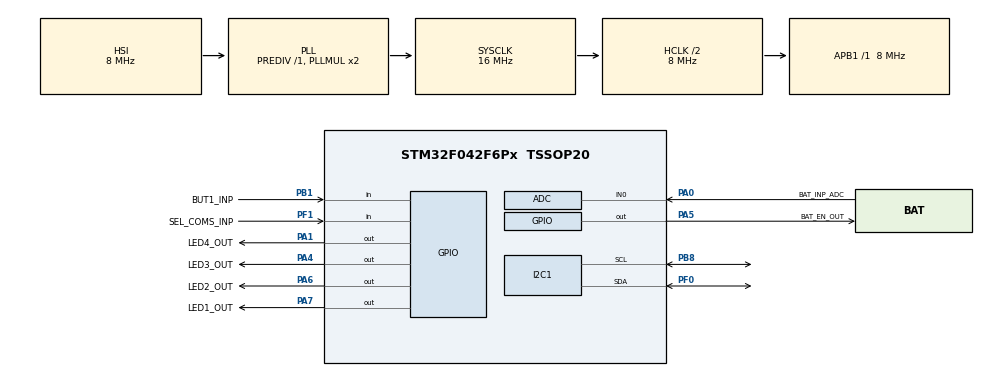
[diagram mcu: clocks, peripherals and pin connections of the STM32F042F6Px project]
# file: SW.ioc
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I2C1.Speed=20
I2C1.Timing=0x101098F3
Mcu.Family=STM32F0
Mcu.Name=STM32F042F6Px
Mcu.Package=TSSOP20
PA0.GPIO_Label=BAT_INP_ADC
PA0.Mode=IN0
PA0.Signal=ADC_IN0
PA1.GPIO_Label=LED4_OUT
PA1.Signal=GPIO_Output
PA13.Mode=Serial_Wire
PA13.Signal=SYS_SWDIO
PA14.Mode=Serial_Wire
PA14.Signal=SYS_SWCLK
PA4.GPIO_Label=LED3_OUT
PA4.Signal=GPIO_Output
PA5.GPIO_Label=BAT_EN_OUT
PA5.Signal=GPIO_Output
PA6.GPIO_Label=LED2_OUT
PA6.Signal=GPIO_Output
PA7.GPIO_Label=LED1_OUT
PA7.Signal=GPIO_Output
PB1.GPIO_Label=BUT1_INP
PB1.GPIO_PuPd=GPIO_PULLUP
PB1.Signal=GPIO_Input
PB8.Mode=I2C
PB8.Signal=I2C1_SCL
PF0-OSC_IN.Mode=I2C
PF0-OSC_IN.Signal=I2C1_SDA
PF1-OSC_OUT.GPIO_Label=SEL_COMS_INP
PF1-OSC_OUT.GPIO_PuPd=GPIO_PULLUP
PF1-OSC_OUT.Signal=GPIO_Input
ProjectManager.HeapSize=0x200
ProjectManager.StackSize=0x400
ProjectManager.TargetToolchain=Makefile
RCC.AHBCLKDivider=RCC_SYSCLK_DIV2
RCC.AHBFreq_Value=8000000
RCC.APB1Freq_Value=8000000
RCC.APB1TimFreq_Value=8000000
RCC.HCLKFreq_Value=8000000
RCC.I2c1ClockSelection=RCC_I2C1CLKSOURCE_SYSCLK
RCC.SYSCLKFreq_VALUE=16000000
RCC.SYSCLKSource=RCC_SYSCLKSOURCE_PLLCLK
STMicroelectronics.X-CUBE-SMBUS.2.1.0.SMB_master=1
STMicroelectronics.X-CUBE-SMBUS.2.1.0.SMB_pec=0
VP_SYS_VS_PINREMAP.Mode=PINREMAP
board=custom

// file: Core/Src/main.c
/* USER CODE BEGIN Header */
/**
  ******************************************************************************
  * @file           : main.c
  * @brief          : Main program body
  ******************************************************************************
  * @attention
  *
  * Copyright (c) 2023 STMicroelectronics.
  * All rights reserved.
  *
  * This software is licensed under terms that can be found in the LICENSE file
  * in the root directory of this software component.
  * If no LICENSE file comes with this software, it is provided AS-IS.
  *
  ******************************************************************************
  */
/* USER CODE END Header */
#include "main.h"
#include "adc.h"
#include "i2c.h"
#include "gpio.h"

void SystemClock_Config(void);

int main(void)
{

  /* MCU Configuration--------------------------------------------------------*/

  /* Reset of all peripherals, Initializes the Flash interface and the Systick. */
  HAL_Init();

  /* Configure the system clock */
  SystemClock_Config();

  /* Initialize all configured peripherals */
  MX_GPIO_Init();
  MX_ADC_Init();
  MX_I2C1_Init();
  /* USER CODE BEGIN 2 */
  HAL_GPIO_WritePin(LED1_OUT_GPIO_Port,LED1_OUT_Pin,GPIO_PIN_SET);
  HAL_GPIO_WritePin(BAT_EN_OUT_GPIO_Port,BAT_EN_OUT_Pin,GPIO_PIN_SET);
  uint16_t address = 0b0001001<<1;
  uint8_t bufferCurrent[16];
  bufferCurrent[0] = 0x14;
  bufferCurrent[1] = 0x00;
  bufferCurrent[2] = 0b00001100;
  uint8_t bufferVoltage[16];
  bufferVoltage[0] = 0x15;
  bufferVoltage[1] = 0x00;
  bufferVoltage[2] = 0b00110000;
  uint8_t maxCurr[16];
  maxCurr[0] = 0x3F;
  maxCurr[1] = 0x00;
  maxCurr[2] = 0b00011000;
  HAL_StatusTypeDef status;
  /* USER CODE END 2 */

  /* Infinite loop */
  while (1)
  {
    if(HAL_GPIO_ReadPin(BUT1_INP_GPIO_Port,BUT1_INP_Pin) == GPIO_PIN_RESET)
    {
      status = HAL_I2C_Master_Transmit(&hi2c1,address,bufferCurrent,3,5);
      status |= HAL_I2C_Master_Transmit(&hi2c1,address,bufferVoltage,3,5);
      status |= HAL_I2C_Master_Transmit(&hi2c1,address,maxCurr,3,5);
      if(status == HAL_OK)
      {
        HAL_GPIO_WritePin(LED2_OUT_GPIO_Port,LED2_OUT_Pin,GPIO_PIN_SET);
        HAL_Delay(500);
        HAL_GPIO_WritePin(LED2_OUT_GPIO_Port,LED2_OUT_Pin,GPIO_PIN_RESET);
      }

    }
  }
}

void SystemClock_Config(void)
{
  RCC_OscInitTypeDef RCC_OscInitStruct = {0};
  RCC_ClkInitTypeDef RCC_ClkInitStruct = {0};
  RCC_PeriphCLKInitTypeDef PeriphClkInit = {0};

  /** Initializes the RCC Oscillators according to the specified parameters
  * in the RCC_OscInitTypeDef structure.
  */
  RCC_OscInitStruct.OscillatorType = RCC_OSCILLATORTYPE_HSI|RCC_OSCILLATORTYPE_HSI14;
  RCC_OscInitStruct.HSIState = RCC_HSI_ON;
  RCC_OscInitStruct.HSI14State = RCC_HSI14_ON;
  RCC_OscInitStruct.HSICalibrationValue = RCC_HSICALIBRATION_DEFAULT;
  RCC_OscInitStruct.HSI14CalibrationValue = 16;
  RCC_OscInitStruct.PLL.PLLState = RCC_PLL_ON;
  RCC_OscInitStruct.PLL.PLLSource = RCC_PLLSOURCE_HSI;
  RCC_OscInitStruct.PLL.PLLMUL = RCC_PLL_MUL2;
  RCC_OscInitStruct.PLL.PREDIV = RCC_PREDIV_DIV1;
  if (HAL_RCC_OscConfig(&RCC_OscInitStruct) != HAL_OK)
  {
    Error_Handler();
  }

  /** Initializes the CPU, AHB and APB buses clocks
  */
  RCC_ClkInitStruct.ClockType = RCC_CLOCKTYPE_HCLK|RCC_CLOCKTYPE_SYSCLK
                              |RCC_CLOCKTYPE_PCLK1;
  RCC_ClkInitStruct.SYSCLKSource = RCC_SYSCLKSOURCE_PLLCLK;
  RCC_ClkInitStruct.AHBCLKDivider = RCC_SYSCLK_DIV2;
  RCC_ClkInitStruct.APB1CLKDivider = RCC_HCLK_DIV1;

  if (HAL_RCC_ClockConfig(&RCC_ClkInitStruct, FLASH_LATENCY_0) != HAL_OK)
  {
    Error_Handler();
  }
  PeriphClkInit.PeriphClockSelection = RCC_PERIPHCLK_I2C1;
  PeriphClkInit.I2c1ClockSelection = RCC_I2C1CLKSOURCE_SYSCLK;
  if (HAL_RCCEx_PeriphCLKConfig(&PeriphClkInit) != HAL_OK)
  {
    Error_Handler();
  }
}

void Error_Handler(void)
{
  __disable_irq();
  while (1)
  {
  }
}
